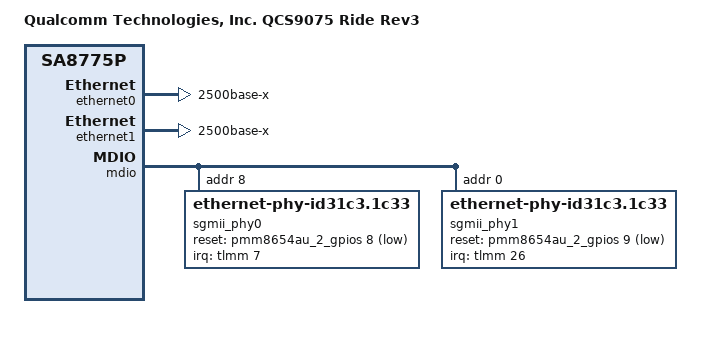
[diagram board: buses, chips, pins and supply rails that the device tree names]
// SPDX-License-Identifier: BSD-3-Clause
/*
 * Copyright (c) 2024, Qualcomm Innovation Center, Inc. All rights reserved.
 */
/dts-v1/;

#include "sa8775p-ride.dtsi"
#include "qcs9075-thermal.dtsi"

/ {
	model = "Qualcomm Technologies, Inc. QCS9075 Ride Rev3";
	compatible = "qcom,qcs9075-ride-r3", "qcom,qcs9075", "qcom,sa8775p";
};

&ethernet0 {
	phy-mode = "2500base-x";
};

&ethernet1 {
	phy-mode = "2500base-x";
};

&mdio {
	compatible = "snps,dwmac-mdio";
	#address-cells = <1>;
	#size-cells = <0>;

	sgmii_phy0: phy@8 {
		compatible = "ethernet-phy-id31c3.1c33";
		reg = <0x8>;
		device_type = "ethernet-phy";
		interrupts-extended = <&tlmm 7 IRQ_TYPE_EDGE_FALLING>;
		reset-gpios = <&pmm8654au_2_gpios 8 GPIO_ACTIVE_LOW>;
		reset-assert-us = <11000>;
		reset-deassert-us = <70000>;
	};

	sgmii_phy1: phy@0 {
		compatible = "ethernet-phy-id31c3.1c33";
		reg = <0x0>;
		device_type = "ethernet-phy";
		interrupts-extended = <&tlmm 26 IRQ_TYPE_EDGE_FALLING>;
		reset-gpios = <&pmm8654au_2_gpios 9 GPIO_ACTIVE_LOW>;
		reset-assert-us = <11000>;
		reset-deassert-us = <70000>;
	};
};
